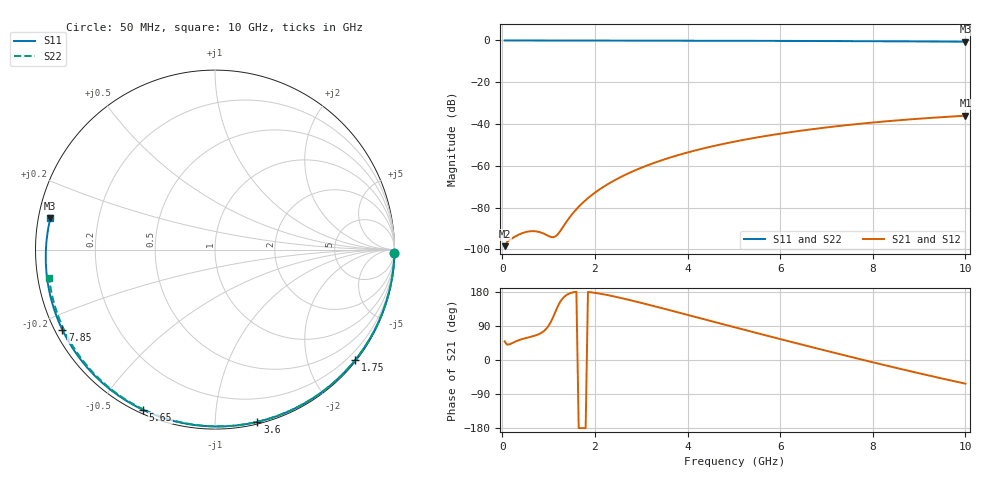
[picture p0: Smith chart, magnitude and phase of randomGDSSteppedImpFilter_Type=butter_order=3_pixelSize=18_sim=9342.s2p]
! freq	dB(S11)	phase(S11)	dB(S12)	phase(S12)
!  dB(S21)	phase(S21)	dB(S22)	phase(S22)
!S-par simulation data
#  GHz  S  DB  R 50
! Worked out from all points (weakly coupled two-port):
!   200 points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, 50 MHz to 10 GHz, reference 50 ohm
!   highest |S21| = -36.01 dB at 10 GHz (marker M1); lowest = -98.4 dB at 50 MHz (marker M2)
!   lowest |S11| = -0.6 dB at 10 GHz (marker M3), VSWR 29.26, Z = 1.72 + j4.74 ohm
!   |S11| at or under -10 dB: nowhere
!   |S22| runs from -0.6 to 0.0 dB; largest |S21 - S12| = 0
!   S11 on the Smith chart (normalised r, x): 50 MHz: open; 1.75 GHz: 0.03, -2.87; 3.6 GHz: 0.02, -1.28; 5.65 GHz: 0.02, -0.65; 7.85 GHz: 0.02, -0.25; 10 GHz: 0.03, +0.09
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0.05  -0.00 -1.1  -98.41 49.3  -98.41 49.3  -0.00 -1.0
0.4  -0.01 -8.9  -92.46 54.2  -92.46 54.2  -0.01 -7.9
0.8  -0.02 -17.8  -91.64 68.8  -91.64 68.8  -0.02 -15.7
1.2  -0.03 -26.5  -92.69 142.0  -92.69 142.0  -0.03 -23.5
1.6  -0.04 -35.2  -80.73 179.9  -80.73 179.9  -0.04 -31.2
1.65  -0.05 -36.2  -79.55 -179.6  -79.55 -179.6  -0.04 -32.1
1.75  -0.05 -38.4  -77.38 -179.7  -77.38 -179.7  -0.04 -34.0
2.05  -0.06 -44.7  -72.02 176.3  -72.02 176.3  -0.05 -39.7
2.45  -0.07 -53.1  -66.58 166.7  -66.58 166.7  -0.06 -47.1
2.9  -0.08 -62.3  -61.83 153.8  -61.83 153.8  -0.07 -55.4
3.4  -0.09 -72.2  -57.62 138.3  -57.62 138.3  -0.09 -64.3
3.6  -0.10 -76.2  -56.17 131.9  -56.17 131.9  -0.09 -67.9
4.3  -0.13 -89.5  -51.87 109.4  -51.87 109.4  -0.11 -80.0
5.05  -0.16 -103.4  -48.23 85.3  -48.23 85.3  -0.14 -92.5
5.65  -0.19 -114.1  -45.84 66.2  -45.84 66.2  -0.17 -102.3
6.15  -0.22 -122.9  -44.11 50.5  -44.11 50.5  -0.20 -110.2
6.7  -0.25 -132.5  -42.43 33.4  -42.43 33.4  -0.23 -118.8
7.3  -0.30 -142.8  -40.84 15.0  -40.84 15.0  -0.27 -128.1
7.85  -0.35 -152.3  -39.57 -1.5  -39.57 -1.5  -0.32 -136.6
8.35  -0.40 -161.0  -38.56 -16.3  -38.56 -16.3  -0.37 -144.3
9.2  -0.49 -176.0  -37.12 -40.6  -37.12 -40.6  -0.46 -157.5
10  -0.59 169.2  -36.01 -62.4  -36.01 -62.4  -0.56 -170.3
